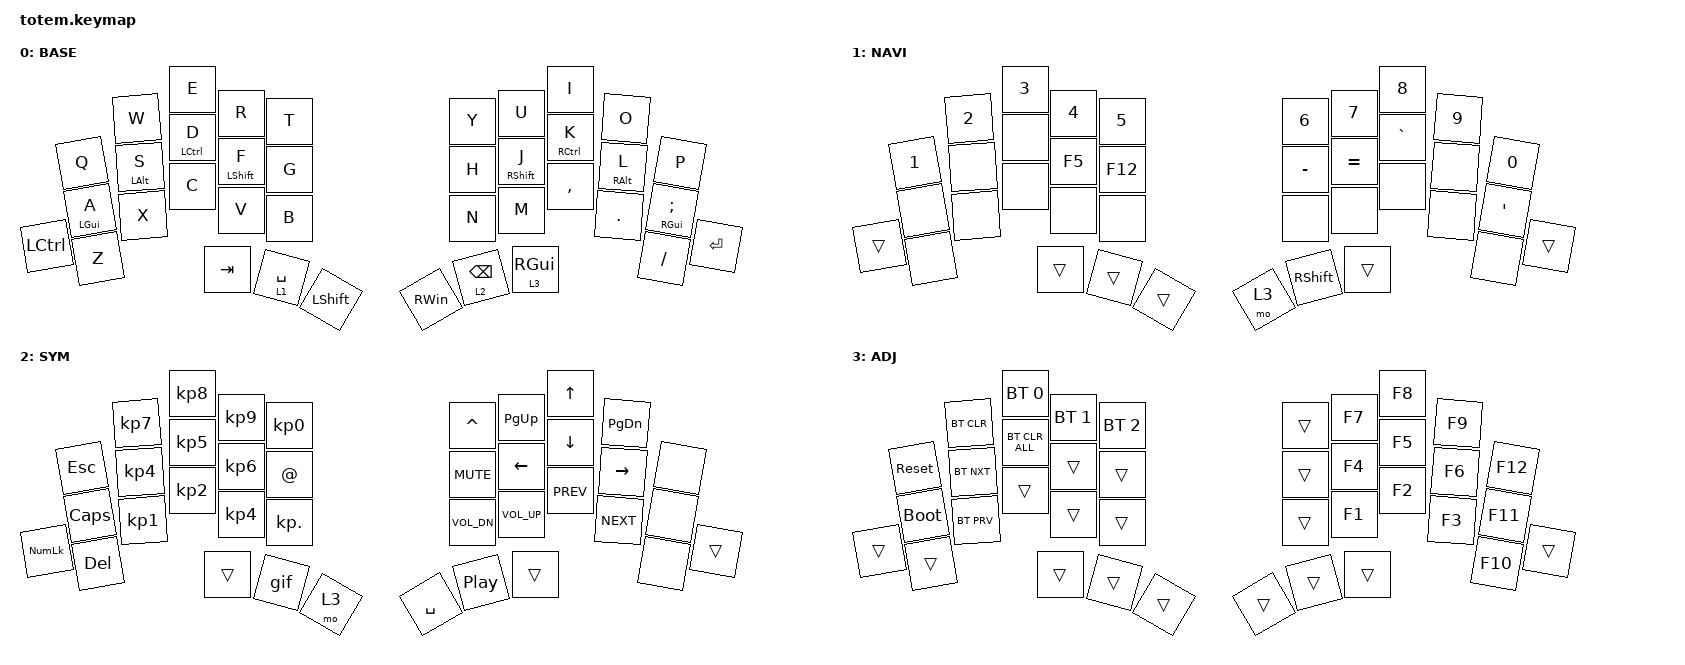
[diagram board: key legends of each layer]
//
//                                                        ▀▀▀▀▀     ▀▀▀▀▀          ▀▀█▀▀
//                                                        ▄▀▀▀▄  ▄  ▄▀▀▀▄  ▄  ▄▀▀▀▄  █  ▄▀▀▀▄
//                                                        █   █  █  █   █  █  █   █  █  █   █
//                                                         ▀▀▀   █   ▀▀▀   █   ▀▀▀   ▀   ▀▀▀
//                                                               █      ▄▄▄█▄▄▄    █   █  
//                                                               ▀      █  █  █     █▄█
//                                                             ▀▀▀▀▀    █  █  █      ▀
//                                                                      ▀  ▀  ▀
//
// ▄▄▄▄▄▄▄▄▄▄▄▄▄▄▄▄▄▄▄▄▄▄▄▄▄▄▄▄▄▄▄▄▄▄▄▄▄▄▄▄▄▄▄▄▄▄▄▄▄▄▄▄▄▄▄▄▄▄▄▄▄▄▄▄▄▄▄▄▄▄▄▄▄▄▄▄▄▄▄▄▄▄▄▄▄▄▄▄▄▄▄▄▄▄▄▄▄▄▄▄▄▄▄▄▄▄▄▄▄▄▄▄▄▄▄▄▄▄▄▄▄▄▄▄▄▄▄▄▄▄▄▄▄▄▄▄▄▄▄▄▄▄▄▄▄▄▄▄▄

#include <behaviors.dtsi>
#include <dt-bindings/zmk/bt.h>
#include <dt-bindings/zmk/keys.h>

#define BASE 0
#define NAV  1
#define SYM  2
#define ADJ  3
#define TVP1 4
#define TVP2 5

&mt {
    quick-tap-ms = <100>;
    global-quick-tap;
    flavor = "tap-preferred";
    tapping-term-ms = <170>;
};

/ {
    combos {
        compatible = "zmk,combos";

        c1 {
            bindings = <&kp LBKT>;
            key-positions = <3 2>;
        };

        c2 {
            bindings = <&kp RBKT>;
            key-positions = <6 7>;
        };

        c3 {
            bindings = <&kp LPAR>;
            key-positions = <13 12>;
        };

        c4 {
            bindings = <&kp RPAR>;
            key-positions = <16 17>;
        };

        c5 {
            bindings = <&kp LBRC>;
            key-positions = <24 23>;
        };

        c6 {
            bindings = <&kp RBRC>;
            key-positions = <27 28>;
        };

        c7 {
            bindings = <&kp BSLH>;
            key-positions = <4 5>;
        };

        c8 {
            bindings = <&kp PIPE>;
            key-positions = <14 15>;
        };

        c9 {
            bindings = <&kp ENTER>;
            key-positions = <18 19>;
        };
    };

    macros {
        gif: gif {
            label = "giphy";
            compatible = "zmk,behavior-macro";
            #binding-cells = <0>;
            bindings =
                <&macro_press>,
                <&kp LSHFT>,
                <&macro_tap>,
                <&kp N2>,
                <&macro_release>,
                <&kp LSHFT>,
                <&macro_tap>,
                <&kp G &kp I &kp F>;
        };
    };

    behaviors {
        hm: hm {
            compatible = "zmk,behavior-hold-tap";
            label = "HM";
            bindings = <&none>, <&none>;

            #binding-cells = <2>;
            tapping-term-ms = <200>;
            flavor = "tap-preferred";
        };
    };

    keymap {
        compatible = "zmk,keymap";

        // ▄▄▄▄▄▄▄▄▄▄▄▄▄▄▄▄▄▄▄▄▄▄▄▄▄▄▄▄▄▄▄▄▄▄▄▄▄▄▄▄▄▄▄▄▄▄▄▄▄▄▄▄▄▄▄▄▄▄▄▄▄▄▄▄▄▄▄▄▄▄▄▄▄▄▄▄▄▄▄▄▄▄▄▄▄▄▄▄▄▄▄▄▄▄▄▄▄▄▄▄▄▄▄▄▄▄▄▄▄▄▄▄▄▄▄▄▄▄▄▄▄▄▄▄▄▄▄▄▄▄▄▄▄▄▄▄▄▄▄▄▄▄▄▄▄▄▄▄▄

        base_layer {
            // ┏━━━━━━━━━━━━━━━━━━━━━━━━━━━━━━━━━━━━━━━┓

            label = "BASE";

            // ┗━━━━━━━━━━━━━━━━━━━━━━━━━━━━━━━━━━━━━━━┛
            //             ┏━━━━━━━━━━━┳━━━━━━━━━━━┳━━━━━━━━━━━┳━━━━━━━━━━━┳━━━━━━━━━━━┓   ┏━━━━━━━━━━━┳━━━━━━━━━━━┳━━━━━━━━━━━┳━━━━━━━━━━━┳━━━━━━━━━━━┓
            //             ┃     Q     ┃     W     ┃     F     ┃     P     ┃     G     ┃   ┃     J     ┃     L     ┃     U     ┃     Y     ┃     ;     ┃
            //             ┣━━━━━━━━━━━╋━━━━━━━━━━━╋━━━━━━━━━━━╋━━━━━━━━━━━╋━━━━━━━━━━━┫   ┣━━━━━━━━━━━╋━━━━━━━━━━━╋━━━━━━━━━━━╋━━━━━━━━━━━╋━━━━━━━━━━━┫
            //             ┃     A     ┃     R     ┃     S     ┃     T     ┃     D     ┃   ┃     H     ┃     N     ┃     E     ┃     I     ┃     O     ┃
            // ┏━━━━━━━━━━━╋━━━━━━━━━━━╋━━━━━━━━━━━╋━━━━━━━━━━━╋━━━━━━━━━━━╋━━━━━━━━━━━┫   ┣━━━━━━━━━━━╋━━━━━━━━━━━╋━━━━━━━━━━━╋━━━━━━━━━━━╋━━━━━━━━━━━╋━━━━━━━━━━━┓
            // ┃     Q     ┃     Z     ┃     X     ┃     C     ┃     V     ┃     B     ┃   ┃     K     ┃     M     ┃     ,     ┃     .     ┃     /     ┃     \     ┃
            // ┗━━━━━━━━━━━┻━━━━━━━━━━━┻━━━━━━━━━━━╋━━━━━━━━━━━╋━━━━━━━━━━━╋━━━━━━━━━━━┫   ┣━━━━━━━━━━━╋━━━━━━━━━━━╋━━━━━━━━━━━╋━━━━━━━━━━━┻━━━━━━━━━━━┻━━━━━━━━━━━┛
            //                                     ┃    DEL    ┃    TAB    ┃    SPC    ┃   ┃   ENTER   ┃           ┃   BSPC    ┃
            //                                     ┗━━━━━━━━━━━┻━━━━━━━━━━━┻━━━━━━━━━━━┛   ┗━━━━━━━━━━━┻━━━━━━━━━━━┻━━━━━━━━━━━┛

            bindings = <
           &kp Q       &kp W       &kp E        &kp R        &kp T        &kp Y     &kp U            &kp I        &kp O       &kp P
           &mt LGUI A  &mt LALT S  &mt LCTRL D  &mt LSHFT F  &kp G        &kp H     &mt RSHFT J      &mt RCTRL K  &mt RALT L  &mt RGUI SEMICOLON
&kp LCTRL  &kp Z       &kp X       &kp C        &kp V        &kp B        &kp N     &kp M            &kp COMMA    &kp DOT     &kp FSLH            &kp ENTER
                                   &kp TAB      &lt 1 SPACE  &kp LSHFT    &kp RWIN  &lt 2 BACKSPACE  &lt 3 RGUI
            >;
        };

        // ▄▄▄▄▄▄▄▄▄▄▄▄▄▄▄▄▄▄▄▄▄▄▄▄▄▄▄▄▄▄▄▄▄▄▄▄▄▄▄▄▄▄▄▄▄▄▄▄▄▄▄▄▄▄▄▄▄▄▄▄▄▄▄▄▄▄▄▄▄▄▄▄▄▄▄▄▄▄▄▄▄▄▄▄▄▄▄▄▄▄▄▄▄▄▄▄▄▄▄▄▄▄▄▄▄▄▄▄▄▄▄▄▄▄▄▄▄▄▄▄▄▄▄▄▄▄▄▄▄▄▄▄▄▄▄▄▄▄▄▄▄▄▄▄▄▄▄▄▄

        nav_layer {
            // ┏━━━━━━━━━━━━━━━━━━━━━━━━━━━━━━━━━━━━━━━┓

            label = "NAVI";

            // ┗━━━━━━━━━━━━━━━━━━━━━━━━━━━━━━━━━━━━━━━┛
            //             ┏━━━━━━━━━━━┳━━━━━━━━━━━┳━━━━━━━━━━━┳━━━━━━━━━━━┳━━━━━━━━━━━┓   ┏━━━━━━━━━━━┳━━━━━━━━━━━┳━━━━━━━━━━━┳━━━━━━━━━━━┳━━━━━━━━━━━┓
            //             ┃           ┃           ┃     UP    ┃           ┃     {     ┃   ┃     }     ┃     7     ┃     8     ┃     9     ┃     +     ┃
            //             ┣━━━━━━━━━━━╋━━━━━━━━━━━╋━━━━━━━━━━━╋━━━━━━━━━━━╋━━━━━━━━━━━┫   ┣━━━━━━━━━━━╋━━━━━━━━━━━╋━━━━━━━━━━━╋━━━━━━━━━━━╋━━━━━━━━━━━┫
            //             ┃   SHIFT   ┃   LEFT    ┃    DOWN   ┃   RIGHT   ┃     [     ┃   ┃     ]     ┃     4     ┃     5     ┃     6     ┃     -     ┃
            // ┏━━━━━━━━━━━╋━━━━━━━━━━━╋━━━━━━━━━━━╋━━━━━━━━━━━╋━━━━━━━━━━━╋━━━━━━━━━━━┫   ┣━━━━━━━━━━━╋━━━━━━━━━━━╋━━━━━━━━━━━╋━━━━━━━━━━━╋━━━━━━━━━━━╋━━━━━━━━━━━┓
            // ┃           ┃           ┃   P UP    ┃  C LOCK   ┃  P DOWN   ┃     (     ┃   ┃     )     ┃     1     ┃     2     ┃     3     ┃     *     ┃           ┃
            // ┗━━━━━━━━━━━┻━━━━━━━━━━━┻━━━━━━━━━━━╋━━━━━━━━━━━╋━━━━━━━━━━━╋━━━━━━━━━━━┫   ┣━━━━━━━━━━━╋━━━━━━━━━━━╋━━━━━━━━━━━╋━━━━━━━━━━━┻━━━━━━━━━━━┻━━━━━━━━━━━┛
            //                                     ┃           ┃    TAB    ┃    SPC    ┃   ┃    DEL    ┃     0     ┃           ┃
            //                                     ┗━━━━━━━━━━━┻━━━━━━━━━━━┻━━━━━━━━━━━┛   ┗━━━━━━━━━━━┻━━━━━━━━━━━┻━━━━━━━━━━━┛

            bindings = <
        &kp NUMBER_1  &kp NUMBER_2  &kp NUMBER_3  &kp NUMBER_4  &kp N5     &kp NUMBER_6  &kp N7      &kp N8     &kp N9  &kp N0
        &none         &none         &none         &kp F5        &kp F12    &kp MINUS     &kp EQUAL   &kp GRAVE  &none   &kp SQT
&trans  &none         &none         &none         &none         &none      &none         &none       &none      &none   &none    &trans
                                    &trans        &trans        &trans     &mo 3         &kp RSHIFT  &trans
            >;
        };

        // ▄▄▄▄▄▄▄▄▄▄▄▄▄▄▄▄▄▄▄▄▄▄▄▄▄▄▄▄▄▄▄▄▄▄▄▄▄▄▄▄▄▄▄▄▄▄▄▄▄▄▄▄▄▄▄▄▄▄▄▄▄▄▄▄▄▄▄▄▄▄▄▄▄▄▄▄▄▄▄▄▄▄▄▄▄▄▄▄▄▄▄▄▄▄▄▄▄▄▄▄▄▄▄▄▄▄▄▄▄▄▄▄▄▄▄▄▄▄▄▄▄▄▄▄▄▄▄▄▄▄▄▄▄▄▄▄▄▄▄▄▄▄▄▄▄▄▄▄▄

        sim_layer {
            // ┏━━━━━━━━━━━━━━━━━━━━━━━━━━━━━━━━━━━━━━━┓

            label = "SYM";

            // ┗━━━━━━━━━━━━━━━━━━━━━━━━━━━━━━━━━━━━━━━┛
            //             ┏━━━━━━━━━━━┳━━━━━━━━━━━┳━━━━━━━━━━━┳━━━━━━━━━━━┳━━━━━━━━━━━┓   ┏━━━━━━━━━━━┳━━━━━━━━━━━┳━━━━━━━━━━━┳━━━━━━━━━━━┳━━━━━━━━━━━┓
            //             ┃     !     ┃     @     ┃     #     ┃     $     ┃     %     ┃   ┃     ˆ     ┃     &     ┃     Ü     ┃     '     ┃     "     ┃
            //             ┣━━━━━━━━━━━╋━━━━━━━━━━━╋━━━━━━━━━━━╋━━━━━━━━━━━╋━━━━━━━━━━━┫   ┣━━━━━━━━━━━╋━━━━━━━━━━━╋━━━━━━━━━━━╋━━━━━━━━━━━╋━━━━━━━━━━━┫
            //             ┃     Ä     ┃           ┃    SZ     ┃           ┃           ┃   ┃   MUTE    ┃   YEN     ┃   EURO    ┃  POUND    ┃     Ö     ┃
            // ┏━━━━━━━━━━━╋━━━━━━━━━━━╋━━━━━━━━━━━╋━━━━━━━━━━━╋━━━━━━━━━━━╋━━━━━━━━━━━┫   ┣━━━━━━━━━━━╋━━━━━━━━━━━╋━━━━━━━━━━━╋━━━━━━━━━━━╋━━━━━━━━━━━╋━━━━━━━━━━━┓
            // ┃           ┃  EMAIL1   ┃  EMAIL2   ┃           ┃           ┃           ┃   ┃   VOL-    ┃   VOL+    ┃   LAST    ┃   NEXT    ┃     \     ┃           ┃
            // ┗━━━━━━━━━━━┻━━━━━━━━━━━┻━━━━━━━━━━━╋━━━━━━━━━━━╋━━━━━━━━━━━╋━━━━━━━━━━━┫   ┣━━━━━━━━━━━╋━━━━━━━━━━━╋━━━━━━━━━━━╋━━━━━━━━━━━┻━━━━━━━━━━━┻━━━━━━━━━━━┛
            //                                     ┃           ┃    GIF    ┃    ADJ    ┃   ┃           ┃           ┃           ┃
            //                                     ┗━━━━━━━━━━━┻━━━━━━━━━━━┻━━━━━━━━━━━┛   ┗━━━━━━━━━━━┻━━━━━━━━━━━┻━━━━━━━━━━━┛

            bindings = <
                &kp ESC   &kp KP_NUMBER_7  &kp KP_NUMBER_8  &kp KP_NUMBER_9  &kp KP_NUMBER_0    &kp CARET     &kp PAGE_UP   &kp UP_ARROW  &kp PAGE_DOWN  &none
                &kp CAPS  &kp KP_NUMBER_4  &kp KP_NUMBER_5  &kp KP_NUMBER_6  &kp AT_SIGN        &kp C_MUTE    &kp LEFT      &kp DOWN      &kp RIGHT      &none
&kp KP_NUMLOCK  &kp DEL   &kp KP_NUMBER_1  &kp KP_NUMBER_2  &kp KP_NUMBER_4  &kp KP_DOT         &kp C_VOL_DN  &kp C_VOL_UP  &kp C_PREV    &kp C_NEXT     &none  &trans
                                           &trans           &gif             &mo 3              &kp SPACE     &kp C_PP      &trans
            >;
        };

        // ▄▄▄▄▄▄▄▄▄▄▄▄▄▄▄▄▄▄▄▄▄▄▄▄▄▄▄▄▄▄▄▄▄▄▄▄▄▄▄▄▄▄▄▄▄▄▄▄▄▄▄▄▄▄▄▄▄▄▄▄▄▄▄▄▄▄▄▄▄▄▄▄▄▄▄▄▄▄▄▄▄▄▄▄▄▄▄▄▄▄▄▄▄▄▄▄▄▄▄▄▄▄▄▄▄▄▄▄▄▄▄▄▄▄▄▄▄▄▄▄▄▄▄▄▄▄▄▄▄▄▄▄▄▄▄▄▄▄▄▄▄▄▄▄▄▄▄▄▄

        adjust_layer {
            // ┏━━━━━━━━━━━━━━━━━━━━━━━━━━━━━━━━━━━━━━━┓

            label = "ADJ";

            // ┗━━━━━━━━━━━━━━━━━━━━━━━━━━━━━━━━━━━━━━━┛
            //             ┏━━━━━━━━━━━┳━━━━━━━━━━━┳━━━━━━━━━━━┳━━━━━━━━━━━┳━━━━━━━━━━━┓   ┏━━━━━━━━━━━┳━━━━━━━━━━━┳━━━━━━━━━━━┳━━━━━━━━━━━┳━━━━━━━━━━━┓
            //             ┃   RESET   ┃ BT CLEAR  ┃  OUT TOG  ┃           ┃           ┃   ┃           ┃    F7     ┃    F8     ┃    F9     ┃    F12    ┃
            //             ┣━━━━━━━━━━━╋━━━━━━━━━━━╋━━━━━━━━━━━╋━━━━━━━━━━━╋━━━━━━━━━━━┫   ┣━━━━━━━━━━━╋━━━━━━━━━━━╋━━━━━━━━━━━╋━━━━━━━━━━━╋━━━━━━━━━━━┫
            //             ┃ BOOTLOAD  ┃ BT NEXT   ┃           ┃           ┃           ┃   ┃           ┃    F4     ┃    F5     ┃    F6     ┃    F11    ┃
            // ┏━━━━━━━━━━━╋━━━━━━━━━━━╋━━━━━━━━━━━╋━━━━━━━━━━━╋━━━━━━━━━━━╋━━━━━━━━━━━┫   ┣━━━━━━━━━━━╋━━━━━━━━━━━╋━━━━━━━━━━━╋━━━━━━━━━━━╋━━━━━━━━━━━╋━━━━━━━━━━━┓
            // ┃           ┃           ┃ BT PREV   ┃           ┃           ┃           ┃   ┃           ┃    F1     ┃    F2     ┃    F3     ┃    F10    ┃           ┃
            // ┗━━━━━━━━━━━┻━━━━━━━━━━━┻━━━━━━━━━━━╋━━━━━━━━━━━╋━━━━━━━━━━━╋━━━━━━━━━━━┫   ┣━━━━━━━━━━━╋━━━━━━━━━━━╋━━━━━━━━━━━╋━━━━━━━━━━━┻━━━━━━━━━━━┻━━━━━━━━━━━┛
            //                                     ┃           ┃           ┃           ┃   ┃           ┃           ┃           ┃
            //                                     ┗━━━━━━━━━━━┻━━━━━━━━━━━┻━━━━━━━━━━━┛   ┗━━━━━━━━━━━┻━━━━━━━━━━━┻━━━━━━━━━━━┛

            bindings = <
        &sys_reset   &bt BT_CLR  &bt BT_SEL 0    &bt BT_SEL 1  &bt BT_SEL 2    &trans  &kp F7  &kp F8  &kp F9  &kp F12
        &bootloader  &bt BT_NXT  &bt BT_CLR_ALL  &trans        &trans          &trans  &kp F4  &kp F5  &kp F6  &kp F11
&trans  &trans       &bt BT_PRV  &trans          &trans        &trans          &trans  &kp F1  &kp F2  &kp F3  &kp F10  &trans
                                 &trans          &trans        &trans          &trans  &trans  &trans
            >;
        };

        // ▄▄▄▄▄▄▄▄▄▄▄▄▄▄▄▄▄▄▄▄▄▄▄▄▄▄▄▄▄▄▄▄▄▄▄▄▄▄▄▄▄▄▄▄▄▄▄▄▄▄▄▄▄▄▄▄▄▄▄▄▄▄▄▄▄▄▄▄▄▄▄▄▄▄▄▄▄▄▄▄▄▄▄▄▄▄▄▄▄▄▄▄▄▄▄▄▄▄▄▄▄▄▄▄▄▄▄▄▄▄▄▄▄▄▄▄▄▄▄▄▄▄▄▄▄▄▄▄▄▄▄▄▄▄▄▄▄▄▄▄▄▄▄▄▄▄▄▄▄
        // ▄▄▄▄▄▄▄▄▄▄▄▄▄▄▄▄▄▄▄▄▄▄▄▄▄▄▄▄▄▄▄▄▄▄▄▄▄▄▄▄▄▄▄▄▄▄▄▄▄▄▄▄▄▄▄▄▄▄▄▄▄▄▄▄▄▄▄▄▄▄▄▄▄▄▄▄▄▄▄▄▄▄▄▄▄▄▄▄▄▄▄▄▄▄▄▄▄▄▄▄▄▄▄▄▄▄▄▄▄▄▄▄▄▄▄▄▄▄▄▄▄▄▄▄▄▄▄▄▄▄▄▄▄▄▄▄▄▄▄▄▄▄▄▄▄▄▄▄▄
    };
};
